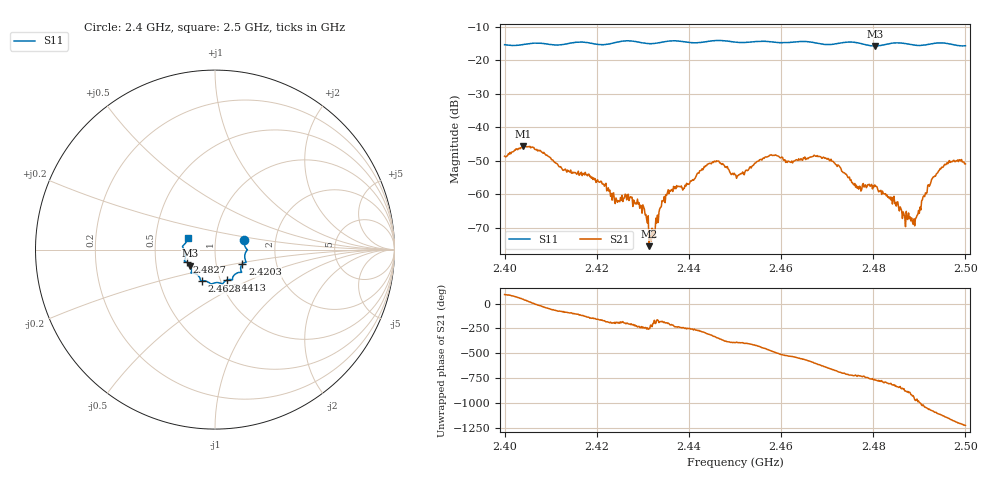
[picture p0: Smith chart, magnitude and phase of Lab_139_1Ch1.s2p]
# Hz S RI R 50
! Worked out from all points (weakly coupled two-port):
!   601 points, 2.4 GHz to 2.5 GHz, reference 50 ohm
!   highest |S21| = -45.59 dB at 2.404 GHz (marker M1); lowest = -75.5 dB at 2.4313 GHz (marker M2)
!   lowest |S11| = -15.7 dB at 2.4803 GHz (marker M3), VSWR 1.39, Z = 37.4 - j6.82 ohm
!   |S11| at or under -10 dB: start of sweep to end of sweep
!   S12 and S22 are empty: the file has one direction only
!   S11 on the Smith chart (normalised r, x): 2.4 GHz: 1.38, +0.15; 2.4203 GHz: 1.34, -0.22; 2.4413 GHz: 1.08, -0.38; 2.4628 GHz: 0.82, -0.29; 2.4827 GHz: 0.72, -0.11; 2.5 GHz: 0.73, +0.10
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2.4e9  0.1627 0.0526  -2.59e-05 0.00371  0 0  0 0
2.404e9  0.1715 0.00953  0.0038 0.00362  0 0  0 0
2.416667e9  0.1737 -0.0696  -0.00106 -0.00186  0 0  0 0
2.420333e9  0.1527 -0.0798  -0.00145 -0.000536  0 0  0 0
2.424333e9  0.1446 -0.1172  -0.000799 0.00017  0 0  0 0
2.429167e9  0.1364 -0.1265  -0.000492 0.00057  0 0  0 0
2.431333e9  0.1142 -0.1353  -5.18e-05 0.00016  0 0  0 0
2.432167e9  0.1068 -0.1417  -0.000209 7.89e-05  0 0  0 0
2.433333e9  0.1002 -0.1517  -0.000376 -5.85e-05  0 0  0 0
2.4355e9  0.0977 -0.1663  -0.00112 0.000329  0 0  0 0
2.441333e9  0.0673 -0.1693  -0.0002 0.00172  0 0  0 0
2.446e9  0.0419 -0.1927  0.00303 0.00091  0 0  0 0
2.45e9  0.0245 -0.1852  0.00164 -0.00108  0 0  0 0
2.457667e9  -0.0282 -0.187  -0.00154 -0.00353  0 0  0 0
2.462833e9  -0.0714 -0.1736  -0.00313 -0.000141  0 0  0 0
2.466667e9  -0.0813 -0.1675  -0.00245 0.00269  0 0  0 0
2.480333e9  -0.1372 -0.0887  0.000989 -0.00097  0 0  0 0
2.482667e9  -0.1574 -0.0708  0.000358 -0.000959  0 0  0 0
2.483333e9  -0.1626 -0.0683  4.85e-05 -0.00092  0 0  0 0
2.488667e9  -0.1644 -0.0395  -0.000321 0.000159  0 0  0 0
2.494333e9  -0.1811 0.0161  0.00191 -0.00126  0 0  0 0
2.5e9  -0.1517 0.0641  -0.00236 -0.0016  0 0  0 0
